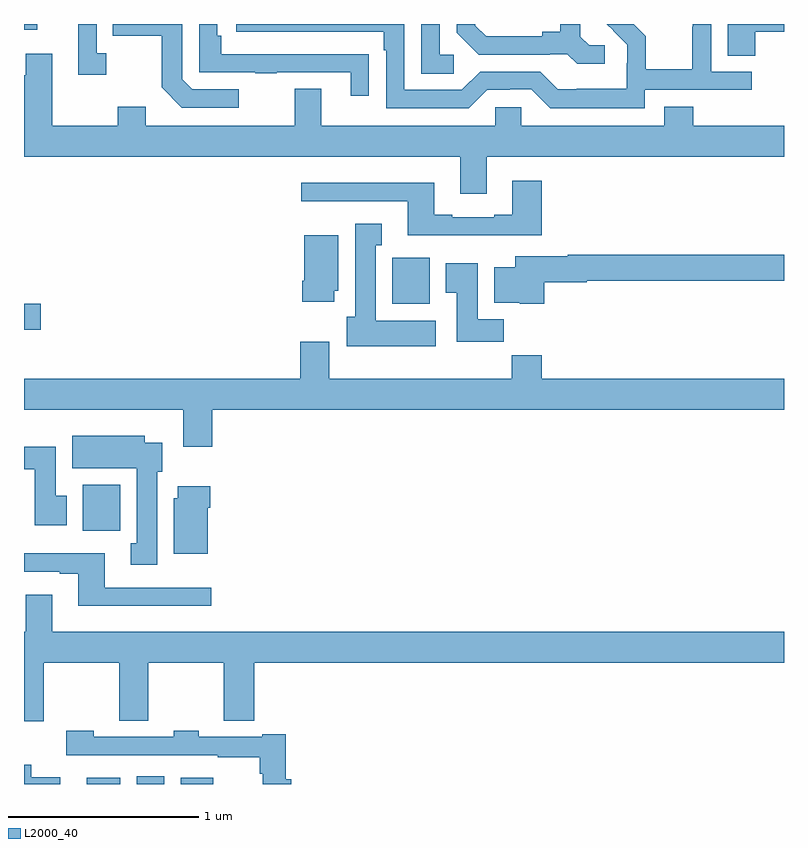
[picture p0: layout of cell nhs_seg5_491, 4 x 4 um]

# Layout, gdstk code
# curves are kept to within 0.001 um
import gdstk
lib = gdstk.Library(unit=1e-6, precision=1e-09)
def R(c, l, rs):  # rectangles x0, y0, x1, y1
    for r in rs: c.add(gdstk.rectangle(r[:2], r[2:], *l))
def P(c, l, *ps):  # polygons
    for p in ps: c.add(gdstk.Polygon(p, *l))
L2000_40 = (2000, 40)

nhs_seg5_491 = lib.new_cell('nhs_seg5_491')
R(nhs_seg5_491, L2000_40, [(143.33,846.799,143.506,846.832), (143.594,846.799,143.737,846.841), (143.825,846.799,143.995,846.832), (143.309,848.132,143.506,848.374), (143,849.191,143.089,849.326), (144.938,849.326,145.135,849.568), (143,850.769,143.071,850.799)])
P(nhs_seg5_491, L2000_40, [(144.815,850.64),(144.713,850.64),(144.713,850.641),(144.038,850.641),(144.038,850.738),(144.018,850.738),(144.018,850.799),(143.922,850.799),(143.922,850.545),(144.217,850.545),(144.217,850.54),(144.329,850.54),(144.329,850.545),(144.719,850.545),(144.719,850.422),(144.815,850.422)],
  [(143.434,850.646),(143.382,850.646),(143.382,850.799),(143.285,850.799),(143.285,850.533),(143.434,850.533)],
  [(146.056,850.686),(145.974,850.686),(145.927,850.733),(145.927,850.799),(145.823,850.799),(145.823,850.757),(145.727,850.757),(145.727,850.734),(145.432,850.734),(145.375,850.791),(145.375,850.799),(145.278,850.799),(145.278,850.754),(145.394,850.638),(145.766,850.638),(145.766,850.641),(145.86,850.641),(145.912,850.589),(146.056,850.589)],
  [(145.261,850.638),(145.188,850.638),(145.188,850.799),(145.092,850.799),(145.092,850.537),(145.261,850.537)],
  [(146.268,850.452),(146.83,850.452),(146.83,850.548),(146.616,850.548),(146.616,850.799),(146.52,850.799),(146.52,850.784),(146.518,850.784),(146.518,850.561),(146.273,850.561),(146.273,850.735),(146.209,850.799),(146.067,850.799),(146.174,850.69),(146.174,850.593),(146.172,850.593),(146.172,850.459),(145.909,850.459),(145.909,850.455),(145.809,850.455),(145.716,850.548),(145.401,850.548),(145.305,850.452),(145.002,850.452),(145.002,850.799),(144.117,850.799),(144.117,850.758),(144.893,850.758),(144.893,850.661),(144.906,850.661),(144.906,850.356),(145.341,850.356),(145.437,850.452),(145.556,850.452),(145.556,850.455),(145.671,850.455),(145.771,850.355),(146.268,850.355)],
  [(146.849,850.757),(147,850.757),(147,850.799),(146.705,850.799),(146.705,850.633),(146.849,850.633)],
  [(144.13,850.455),(143.886,850.455),(143.832,850.509),(143.832,850.799),(143.467,850.799),(143.467,850.738),(143.724,850.738),(143.724,850.465),(143.829,850.359),(144.13,850.359)],
  [(147,850.264),(146.522,850.264),(146.522,850.363),(146.369,850.363),(146.369,850.264),(145.617,850.264),(145.617,850.362),(145.479,850.362),(145.479,850.264),(144.565,850.264),(144.565,850.459),(144.425,850.459),(144.425,850.264),(143.641,850.264),(143.641,850.363),(143.494,850.363),(143.494,850.264),(143.149,850.264),(143.149,850.642),(143.009,850.642),(143.009,850.529),(143,850.529),(143,850.1),(145.295,850.1),(145.295,849.906),(145.435,849.906),(145.435,850.1),(147,850.1)],
  [(145.724,849.973),(145.571,849.973),(145.571,849.796),(145.475,849.796),(145.475,849.783),(145.255,849.783),(145.255,849.796),(145.159,849.796),(145.159,849.964),(144.459,849.964),(144.459,849.867),(145.019,849.867),(145.019,849.686),(145.724,849.686)],
  [(145.168,849.238),(144.85,849.238),(144.85,849.635),(144.883,849.635),(144.883,849.748),(144.743,849.748),(144.743,849.258),(144.698,849.258),(144.698,849.104),(145.168,849.104)],
  [(144.634,849.396),(144.655,849.396),(144.655,849.688),(144.476,849.688),(144.476,849.448),(144.464,849.448),(144.464,849.336),(144.634,849.336)],
  [(145.739,849.44),(145.962,849.44),(145.962,849.448),(147,849.448),(147,849.584),(145.862,849.584),(145.862,849.577),(145.586,849.577),(145.586,849.52),(145.475,849.52),(145.475,849.332),(145.608,849.332),(145.608,849.326),(145.739,849.326)],
  [(145.526,849.244),(145.387,849.244),(145.387,849.541),(145.22,849.541),(145.22,849.385),(145.277,849.385),(145.277,849.126),(145.526,849.126)],
  [(143.99,848.768),(147,848.768),(147,848.932),(145.724,848.932),(145.724,849.056),(145.567,849.056),(145.567,848.932),(144.607,848.932),(144.607,849.127),(144.455,849.127),(144.455,848.932),(143,848.932),(143,848.768),(143.837,848.768),(143.837,848.574),(143.99,848.574)],
  [(143.701,848.442),(143.728,848.442),(143.728,848.596),(143.635,848.596),(143.635,848.632),(143.255,848.632),(143.255,848.462),(143.594,848.462),(143.594,848.066),(143.561,848.066),(143.561,847.953),(143.701,847.953)],
  [(143.224,848.316),(143.167,848.316),(143.167,848.574),(143,848.574),(143,848.456),(143.057,848.456),(143.057,848.16),(143.224,848.16)],
  [(143.968,848.252),(143.981,848.252),(143.981,848.365),(143.81,848.365),(143.81,848.304),(143.789,848.304),(143.789,848.012),(143.968,848.012)],
  [(143.986,847.833),(143.425,847.833),(143.425,848.014),(143,848.014),(143,847.917),(143.189,847.917),(143.189,847.905),(143.285,847.905),(143.285,847.736),(143.986,847.736)],
  [(143.103,847.436),(143.5,847.436),(143.5,847.132),(143.654,847.132),(143.654,847.436),(144.052,847.436),(144.052,847.132),(144.212,847.132),(144.212,847.436),(147,847.436),(147,847.6),(143.149,847.6),(143.149,847.795),(143.009,847.795),(143.009,847.6),(143,847.6),(143,847.128),(143.103,847.128)],
  [(144.407,846.823),(144.377,846.823),(144.377,847.06),(144.254,847.06),(144.254,847.047),(143.919,847.047),(143.919,847.08),(143.787,847.08),(143.787,847.047),(143.367,847.047),(143.367,847.08),(143.223,847.08),(143.223,846.951),(144.019,846.951),(144.019,846.939),(144.241,846.939),(144.241,846.854),(144.256,846.854),(144.256,846.799),(144.407,846.799)],
  [(143.191,846.835),(143.037,846.835),(143.037,846.901),(143,846.901),(143,846.799),(143.191,846.799)])

lib.write_gds('nhs_seg5_491.gds')
